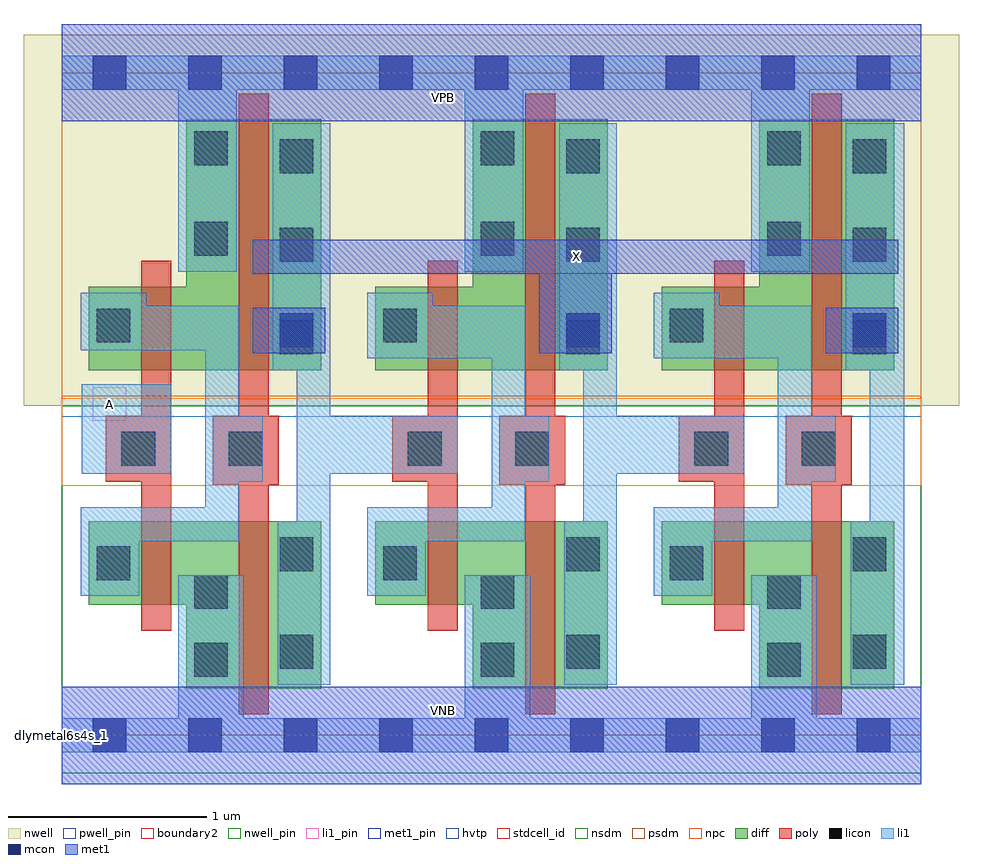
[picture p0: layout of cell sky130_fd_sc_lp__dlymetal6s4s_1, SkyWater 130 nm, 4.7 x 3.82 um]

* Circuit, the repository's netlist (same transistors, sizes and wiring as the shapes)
* Copyright 2020 The SkyWater PDK Authors
*
* Licensed under the Apache License, Version 2.0 (the "License");
* you may not use this file except in compliance with the License.
* You may obtain a copy of the License at
*
*     https://www.apache.org/licenses/LICENSE-2.0
*
* Unless required by applicable law or agreed to in writing, software
* distributed under the License is distributed on an "AS IS" BASIS,
* WITHOUT WARRANTIES OR CONDITIONS OF ANY KIND, either express or implied.
* See the License for the specific language governing permissions and
* limitations under the License.
*
* SPDX-License-Identifier: Apache-2.0

.SUBCKT sky130_fd_sc_lp__dlymetal6s4s_1 A VGND VNB VPB VPWR X
*.PININFO A:I VGND:I VNB:I VPB:I VPWR:I X:O
MMIN1 Ab X VGND VNB sky130_fd_pr__nfet_01v8 m=1 w=0.42U l=0.15U mult=1 sa=0.265
+ sb=0.265 sd=0.28 area=0.063 perim=1.14
MMIN2 net042 Ab VGND VNB sky130_fd_pr__nfet_01v8 m=1 w=0.84U l=0.15U mult=1 sa=0.265
+ sb=0.265 sd=0.28 area=0.063 perim=1.14
MI6 X net20 VGND VNB sky130_fd_pr__nfet_01v8 m=1 w=0.84U l=0.15U mult=1 sa=0.265
+ sb=0.265 sd=0.28 area=0.063 perim=1.14
MI15 net038 A VGND VNB sky130_fd_pr__nfet_01v8 m=1 w=0.42U l=0.15U mult=1 sa=0.265
+ sb=0.265 sd=0.28 area=0.063 perim=1.14
MI9 net20 net060 VGND VNB sky130_fd_pr__nfet_01v8 m=1 w=0.42U l=0.15U mult=1 sa=0.265
+ sb=0.265 sd=0.28 area=0.063 perim=1.14
MI16 net060 net038 VGND VNB sky130_fd_pr__nfet_01v8 m=1 w=0.84U l=0.15U mult=1
+ sa=0.265 sb=0.265 sd=0.28 area=0.063 perim=1.14
MMIP1 Ab X VPWR VPB sky130_fd_pr__pfet_01v8_hvt m=1 w=0.42U l=0.15U mult=1 sa=0.265
+ sb=0.265 sd=0.28 area=0.063 perim=1.14
MMIP2 net042 Ab VPWR VPB sky130_fd_pr__pfet_01v8_hvt m=1 w=1.26U l=0.15U mult=1
+ sa=0.265 sb=0.265 sd=0.28 area=0.063 perim=1.14
MI7 X net20 VPWR VPB sky130_fd_pr__pfet_01v8_hvt m=1 w=1.26U l=0.15U mult=1 sa=0.265
+ sb=0.265 sd=0.28 area=0.063 perim=1.14
MI8 net20 net060 VPWR VPB sky130_fd_pr__pfet_01v8_hvt m=1 w=0.42U l=0.15U mult=1
+ sa=0.265 sb=0.265 sd=0.28 area=0.063 perim=1.14
MI18 net060 net038 VPWR VPB sky130_fd_pr__pfet_01v8_hvt m=1 w=1.26U l=0.15U mult=1
+ sa=0.265 sb=0.265 sd=0.28 area=0.063 perim=1.14
MI17 net038 A VPWR VPB sky130_fd_pr__pfet_01v8_hvt m=1 w=0.42U l=0.15U mult=1 sa=0.265
+ sb=0.265 sd=0.28 area=0.063 perim=1.14
.ENDS sky130_fd_sc_lp__dlymetal6s4s_1

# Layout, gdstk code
import gdstk
lib = gdstk.Library(unit=1e-6, precision=1e-09)
def R(c, l, rs):  # rectangles x0, y0, x1, y1
    for r in rs: c.add(gdstk.rectangle(r[:2], r[2:], *l))
def A(c, l, x, y, w, h, nx, ny, dx, dy):  # array of equal rectangles
    R(c, l, [(x+i*dx, y+j*dy, x+i*dx+w, y+j*dy+h) for i in range(nx) for j in range(ny)])
def P(c, l, *ps):  # polygons
    for p in ps: c.add(gdstk.Polygon(p, *l))
nwell_pin = (64, 16)
nwell = (64, 20)
diff = (65, 20)
poly = (66, 20)
licon = (66, 44)
li1_pin = (67, 16)
li1 = (67, 20)
mcon = (67, 44)
met1_pin = (68, 16)
met1 = (68, 20)
hvtp = (78, 44)
stdcell_id = (81, 4)
nsdm = (93, 44)
psdm = (94, 20)
npc = (95, 20)
pwell_pin = (122, 16)
boundary2 = (236, 0)

sky130_fd_sc_lp__dlymeta = lib.new_cell('sky130_fd_sc_lp__dlymetal6s4s_1')
R(sky130_fd_sc_lp__dlymeta, nwell_pin, [(0,3.085,4.32,3.33)])
R(sky130_fd_sc_lp__dlymeta, nwell, [(-0.19,1.655,4.51,3.52)])
P(sky130_fd_sc_lp__dlymeta, diff, [(4.185,1.075),(3.015,1.075),(3.015,0.655),(3.505,0.655),(3.505,0.235),(4.185,0.235)],
  [(4.185,3.095),(3.505,3.095),(3.505,2.255),(3.015,2.255),(3.015,1.835),(4.185,1.835)],
  [(2.745,1.075),(1.575,1.075),(1.575,0.655),(2.065,0.655),(2.065,0.235),(2.745,0.235)],
  [(2.745,3.095),(2.065,3.095),(2.065,2.255),(1.575,2.255),(1.575,1.835),(2.745,1.835)],
  [(1.305,1.075),(0.135,1.075),(0.135,0.655),(0.625,0.655),(0.625,0.235),(1.305,0.235)],
  [(1.305,3.095),(0.625,3.095),(0.625,2.255),(0.135,2.255),(0.135,1.835),(1.305,1.835)])
P(sky130_fd_sc_lp__dlymeta, poly, [(3.97,1.605),(3.92,1.605),(3.92,3.225),(3.77,3.225),(3.77,1.605),(3.64,1.605),(3.64,1.26),(3.77,1.26),(3.77,0.105),(3.92,0.105),(3.92,1.26),(3.97,1.26)],
  [(3.43,2.385),(3.28,2.385),(3.28,1.605),(3.1,1.605),(3.1,1.275),(3.28,1.275),(3.28,0.525),(3.43,0.525)],
  [(2.53,1.605),(2.48,1.605),(2.48,3.225),(2.33,3.225),(2.33,1.605),(2.2,1.605),(2.2,1.26),(2.33,1.26),(2.33,0.105),(2.48,0.105),(2.48,1.26),(2.53,1.26)],
  [(1.99,2.385),(1.84,2.385),(1.84,1.605),(1.66,1.605),(1.66,1.275),(1.84,1.275),(1.84,0.525),(1.99,0.525)],
  [(1.09,1.605),(1.04,1.605),(1.04,3.225),(0.89,3.225),(0.89,1.605),(0.76,1.605),(0.76,1.26),(0.89,1.26),(0.89,0.105),(1.04,0.105),(1.04,1.26),(1.09,1.26)],
  [(0.55,2.385),(0.4,2.385),(0.4,1.605),(0.22,1.605),(0.22,1.275),(0.4,1.275),(0.4,0.525),(0.55,0.525)])
A(sky130_fd_sc_lp__dlymeta, licon, 0.665, 0.295, 0.17, 0.17, 3, 2, 1.44, 0.34)
A(sky130_fd_sc_lp__dlymeta, licon, 1.095, 0.335, 0.17, 0.17, 3, 2, 1.44, 0.49)
A(sky130_fd_sc_lp__dlymeta, licon, 0.175, 0.78, 0.17, 0.17, 3, 2, 1.44, 1.195)
A(sky130_fd_sc_lp__dlymeta, licon, 1.095, 1.915, 0.17, 0.17, 3, 2, 1.44, 0.465)
A(sky130_fd_sc_lp__dlymeta, licon, 0.665, 2.41, 0.17, 0.17, 3, 2, 1.44, 0.455)
A(sky130_fd_sc_lp__dlymeta, licon, 1.095, 2.825, 0.17, 0.17, 3, 1, 1.44, 0)
R(sky130_fd_sc_lp__dlymeta, licon, [(0.3,1.355,0.47,1.525), (0.84,1.355,1.01,1.525), (1.74,1.355,1.91,1.525), (2.28,1.355,2.45,1.525), (3.18,1.355,3.35,1.525), (3.72,1.355,3.89,1.525)])
R(sky130_fd_sc_lp__dlymeta, li1_pin, [(0.155,1.58,0.325,1.75)])
R(sky130_fd_sc_lp__dlymeta, li1, [(0.1,1.315,0.55,1.765)])
P(sky130_fd_sc_lp__dlymeta, li1, [(4.32,0.085),(3.795,0.085),(3.795,0.805),(3.465,0.805),(3.465,0.085),(2.355,0.085),(2.355,0.805),(2.025,0.805),(2.025,0.085),(0.915,0.085),(0.915,0.805),(0.585,0.805),(0.585,0.085),(0,0.085),(0,-0.085),(4.32,-0.085)],
  [(4.32,3.415),(0,3.415),(0,3.245),(0.585,3.245),(0.585,2.33),(0.88,2.33),(0.88,3.245),(2.025,3.245),(2.025,2.33),(2.32,2.33),(2.32,3.245),(3.465,3.245),(3.465,2.33),(3.76,2.33),(3.76,3.245),(4.32,3.245)],
  [(4.235,3.075),(3.94,3.075),(3.94,1.835),(4.06,1.835),(4.06,1.075),(3.965,1.075),(3.965,0.255),(4.235,0.255)],
  [(3.89,1.605),(3.77,1.605),(3.77,2.16),(3.305,2.16),(3.305,2.225),(2.975,2.225),(2.975,1.895),(3.6,1.895),(3.6,1.145),(2.975,1.145),(2.975,0.7),(3.27,0.7),(3.27,0.975),(3.77,0.975),(3.77,1.275),(3.89,1.275)],
  [(3.43,1.605),(2.79,1.605),(2.79,3.075),(2.5,3.075),(2.5,1.835),(2.62,1.835),(2.62,1.075),(2.525,1.075),(2.525,0.255),(2.79,0.255),(2.79,1.315),(3.43,1.315)],
  [(2.45,1.605),(2.33,1.605),(2.33,2.16),(1.865,2.16),(1.865,2.225),(1.535,2.225),(1.535,1.895),(2.16,1.895),(2.16,1.145),(1.535,1.145),(1.535,0.7),(1.83,0.7),(1.83,0.975),(2.33,0.975),(2.33,1.275),(2.45,1.275)],
  [(1.99,1.605),(1.35,1.605),(1.35,3.075),(1.06,3.075),(1.06,1.835),(1.18,1.835),(1.18,1.075),(1.085,1.075),(1.085,0.255),(1.35,0.255),(1.35,1.315),(1.99,1.315)],
  [(1.01,1.605),(0.89,1.605),(0.89,2.16),(0.425,2.16),(0.425,2.225),(0.095,2.225),(0.095,1.935),(0.72,1.935),(0.72,1.145),(0.095,1.145),(0.095,0.7),(0.39,0.7),(0.39,0.975),(0.89,0.975),(0.89,1.275),(1.01,1.275)])
A(sky130_fd_sc_lp__dlymeta, mcon, 0.155, -0.085, 0.17, 0.17, 9, 2, 0.48, 3.33)
A(sky130_fd_sc_lp__dlymeta, mcon, 1.095, 1.95, 0.17, 0.17, 3, 1, 1.44, 0)
R(sky130_fd_sc_lp__dlymeta, met1_pin, [(0,0,4.32,0.245), (0.96,2.32,4.205,2.49), (0,3.085,4.32,3.33)])
R(sky130_fd_sc_lp__dlymeta, met1, [(0,-0.245,4.32,0.245), (0.96,1.92,1.325,2.15), (3.84,1.92,4.205,2.15), (0,3.085,4.32,3.575)])
P(sky130_fd_sc_lp__dlymeta, met1, [(4.205,2.49),(0.96,2.49),(0.96,2.32),(2.4,2.32),(2.4,1.92),(2.765,1.92),(2.765,2.32),(4.205,2.32)])
R(sky130_fd_sc_lp__dlymeta, hvtp, [(0,1.6,4.32,3.33)])
R(sky130_fd_sc_lp__dlymeta, stdcell_id, [(0,0,4.32,3.33)])
R(sky130_fd_sc_lp__dlymeta, nsdm, [(0,-0.19,4.32,1.655)])
R(sky130_fd_sc_lp__dlymeta, psdm, [(0,1.705,4.32,3.52)])
R(sky130_fd_sc_lp__dlymeta, npc, [(0,1.255,4.32,1.695)])
R(sky130_fd_sc_lp__dlymeta, pwell_pin, [(0,0,4.32,0.245)])
R(sky130_fd_sc_lp__dlymeta, boundary2, [(0,0,4.32,3.33)])
sky130_fd_sc_lp__dlymeta.add(gdstk.Label('VNB', (1.92,0.123), layer=64, texttype=59))
sky130_fd_sc_lp__dlymeta.add(gdstk.Label('VPB', (1.92,3.208), layer=64, texttype=5))
sky130_fd_sc_lp__dlymeta.add(gdstk.Label('dlymetal6s4s_1', (0,0), layer=83, texttype=44))
sky130_fd_sc_lp__dlymeta.add(gdstk.Label('X', (2.585,2.405), layer=68, texttype=5))
sky130_fd_sc_lp__dlymeta.add(gdstk.Label('VGND', (1.92,0.123), layer=68, texttype=5))
sky130_fd_sc_lp__dlymeta.add(gdstk.Label('VPWR', (1.92,3.208), layer=68, texttype=5))
sky130_fd_sc_lp__dlymeta.add(gdstk.Label('A', (0.24,1.665), layer=67, texttype=5))

lib.write_gds('sky130_fd_sc_lp__dlymetal6s4s_1.gds')
